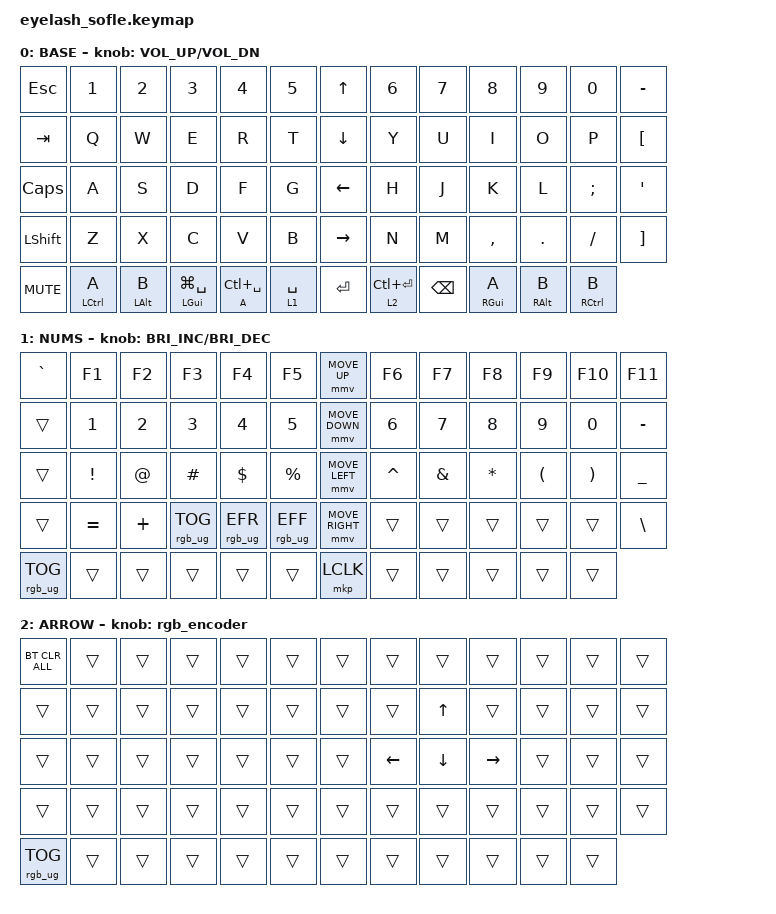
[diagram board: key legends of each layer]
#define ZMK_POINTING_DEFAULT_MOVE_VAL 1200  // 600
#define ZMK_POINTING_DEFAULT_SCRL_VAL 25   // 10

#include <input/processors.dtsi>
#include <zephyr/dt-bindings/input/input-event-codes.h>
#include <behaviors.dtsi>
#include <dt-bindings/zmk/bt.h>
#include <dt-bindings/zmk/keys.h>
#include <dt-bindings/zmk/pointing.h>
#include <dt-bindings/zmk/rgb.h>

&mmv_input_listener { input-processors = <&zip_xy_scaler 2 1>; };

&msc_input_listener { input-processors = <&zip_scroll_scaler 2 1>; };

&msc {
    acceleration-exponent = <1>;      // 0
    time-to-max-speed-ms = <100>;       // 300
    delay-ms = <0>;                   // 0
};

&mmv {
    time-to-max-speed-ms = <500>;
    acceleration-exponent = <1>;
    trigger-period-ms = <16>;
};

&soft_off { hold-time-ms = <2000>; };

/ {
    scroll_encoder: scroll_encoder {
        compatible = "zmk,behavior-sensor-rotate";
        #sensor-binding-cells = <0>;
        bindings = <&msc SCRL_DOWN>, <&msc SCRL_UP>;

        tap-ms = <100>;
    };

    tap_hold: tap_hold {
        compatible = "zmk,behavior-hold-tap";
        label = "TAP_HOLD";
        bindings = <&kp>, <&kp>;

        #binding-cells = <2>;
        tapping-term-ms = <150>;
    };

    rgb_encoder: rgb_encoder {
        compatible = "zmk,behavior-sensor-rotate";
        label = "Underglow brightness rotate control";
        #sensor-binding-cells = <0>;
        bindings = <&rgb_ug RGB_BRI>, <&rgb_ug RGB_BRD>;
    };

    behaviors {
    };

    combos {
        compatible = "zmk,combos";

        softoff {
            bindings = <&soft_off>;
            key-positions = <14 28 40>;
        };
    };

    macros {
        SHIFT_MCLK: SHIFT_MCLK {
            compatible = "zmk,behavior-macro";
            #binding-cells = <0>;
            bindings =
                <&macro_press>,
                <&kp LEFT_SHIFT>,
                <&macro_press>,
                <&mkp MB3>,
                <&macro_pause_for_release>,
                <&macro_release>,
                <&kp LEFT_SHIFT &mkp MB3>;

            label = "SHIFT_MCLK";
        };
    };

    keymap {
        compatible = "zmk,keymap";

        base {
            bindings = <
&kp ESC     &kp N1             &kp N2                &kp N3                        &kp N4                 &kp N5         &kp UP_ARROW     &kp N6           &kp N7         &kp N8                 &kp N9                 &kp N0                     &kp MINUS
&kp TAB     &kp Q              &kp W                 &kp E                         &kp R                  &kp T          &kp DOWN_ARROW   &kp Y            &kp U          &kp I                  &kp O                  &kp P                      &kp LEFT_BRACKET
&kp CAPS    &kp A              &kp S                 &kp D                         &kp F                  &kp G          &kp LEFT_ARROW   &kp H            &kp J          &kp K                  &kp L                  &kp SEMI                   &kp APOS
&kp LSHFT   &kp Z              &kp X                 &kp C                         &kp V                  &kp B          &kp RIGHT_ARROW  &kp N            &kp M          &kp COMMA              &kp DOT                &kp FSLH                   &kp RIGHT_BRACKET
&kp C_MUTE  &tap_hold LCTRL A  &tap_hold LEFT_ALT B  &tap_hold LEFT_GUI LG(SPACE)  &tap_hold A LC(SPACE)  &lt 1 SPACE    &kp ENTER        &lt 2 LC(ENTER)  &kp BACKSPACE  &tap_hold RIGHT_GUI A  &tap_hold RIGHT_ALT B  &tap_hold RIGHT_CONTROL B
            >;

            sensor-bindings = <&inc_dec_kp C_VOLUME_UP C_VOL_DN>;
            display-name = "BASE";
        };

        numbers {
            bindings = <
&kp GRAVE        &kp F1           &kp F2        &kp F3           &kp F4           &kp F5             &mmv MOVE_UP     &kp F6        &kp F7         &kp F8        &kp F9                &kp F10                &kp F11
&trans           &kp NUMBER_1     &kp NUMBER_2  &kp NUMBER_3     &kp NUMBER_4     &kp NUMBER_5       &mmv MOVE_DOWN   &kp NUMBER_6  &kp NUMBER_7   &kp NUMBER_8  &kp NUMBER_9          &kp NUMBER_0           &kp MINUS
&trans           &kp EXCLAMATION  &kp AT_SIGN   &kp HASH         &kp DOLLAR       &kp PERCENT        &mmv MOVE_LEFT   &kp CARET     &kp AMPERSAND  &kp ASTERISK  &kp LEFT_PARENTHESIS  &kp RIGHT_PARENTHESIS  &kp UNDERSCORE
&trans           &kp EQUAL        &kp PLUS      &rgb_ug RGB_TOG  &rgb_ug RGB_EFR  &rgb_ug RGB_EFF    &mmv MOVE_RIGHT  &trans        &trans         &trans        &trans                &trans                 &kp BACKSLASH
&rgb_ug RGB_TOG  &trans           &trans        &trans           &trans           &trans             &mkp LCLK        &trans        &trans         &trans        &trans                &trans
            >;

            display-name = "NUMS";
            sensor-bindings = <&inc_dec_kp C_BRIGHTNESS_INC C_BRIGHTNESS_DEC>;
        };

        arrows {
            bindings = <
&bt BT_CLR_ALL   &trans  &trans  &trans  &trans  &trans    &trans  &trans          &trans          &trans           &trans  &trans  &trans
&trans           &trans  &trans  &trans  &trans  &trans    &trans  &trans          &kp UP_ARROW    &trans           &trans  &trans  &trans
&trans           &trans  &trans  &trans  &trans  &trans    &trans  &kp LEFT_ARROW  &kp DOWN_ARROW  &kp RIGHT_ARROW  &trans  &trans  &trans
&trans           &trans  &trans  &trans  &trans  &trans    &trans  &trans          &trans          &trans           &trans  &trans  &trans
&rgb_ug RGB_TOG  &trans  &trans  &trans  &trans  &trans    &trans  &trans          &trans          &trans           &trans  &trans
            >;

            display-name = "ARROW";
            sensor-bindings = <&rgb_encoder>;
        };
    };
};
